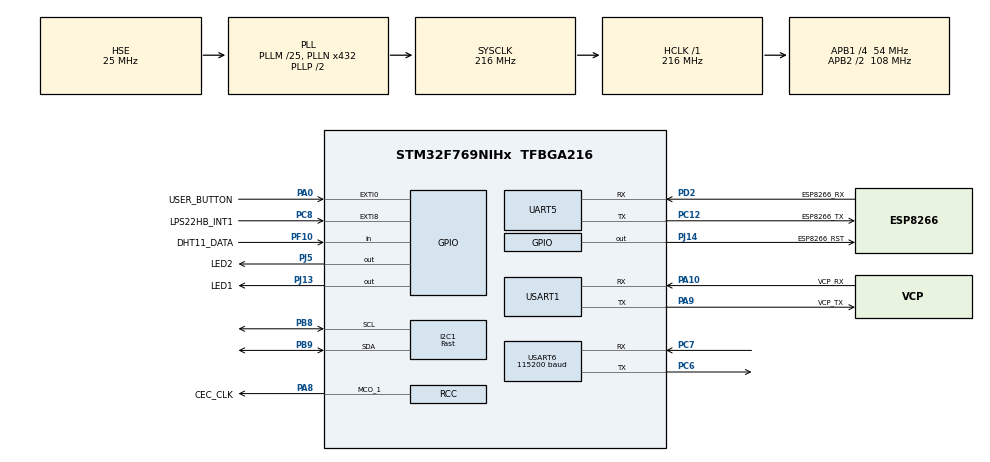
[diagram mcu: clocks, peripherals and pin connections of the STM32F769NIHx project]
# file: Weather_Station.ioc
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CORTEX_M7.CPU_DCache=Enabled
CORTEX_M7.CPU_ICache=Enabled
CORTEX_M7.default_mode_Activation=1
I2C1.I2C_Speed_Mode=I2C_Fast
I2C1.Timing=0x6000030D
IWDG.Prescaler=IWDG_PRESCALER_256
Mcu.Family=STM32F7
Mcu.Name=STM32F769NIHx
Mcu.Package=TFBGA216
NVIC.EXTI0_IRQn=true\:5\:0\:true\:false\:true\:true\:true\:true
NVIC.EXTI9_5_IRQn=true\:5\:0\:true\:false\:true\:true\:true\:true
NVIC.HASH_RNG_IRQn=true\:5\:0\:true\:false\:true\:true\:true\:true
NVIC.PriorityGroup=NVIC_PRIORITYGROUP_4
NVIC.TIM6_DAC_IRQn=true\:15\:0\:false\:false\:true\:false\:true\:true
NVIC.TimeBase=TIM6_DAC_IRQn
NVIC.TimeBaseIP=TIM6
NVIC.UART5_IRQn=true\:5\:0\:true\:false\:true\:true\:true\:true
NVIC.USART1_IRQn=true\:5\:0\:true\:false\:true\:true\:true\:true
NVIC.USART6_IRQn=true\:5\:0\:true\:false\:true\:true\:true\:true
PA0/WKUP.GPIO_Label=USER_BUTTON
PA0/WKUP.Signal=GPXTI0
PA10.GPIO_Label=VCP_RX
PA10.GPIO_Speed=GPIO_SPEED_FREQ_LOW
PA10.Mode=Asynchronous
PA10.Signal=USART1_RX
PA8.GPIO_Label=CEC_CLK
PA8.Mode=Clock-out-1
PA8.Signal=RCC_MCO_1
PA9.GPIO_Label=VCP_TX
PA9.GPIO_Speed=GPIO_SPEED_FREQ_LOW
PA9.Mode=Asynchronous
PA9.Signal=USART1_TX
PB8.Mode=I2C
PB8.Signal=I2C1_SCL
PB9.Mode=I2C
PB9.Signal=I2C1_SDA
PC12.GPIO_Label=ESP8266_TX
PC12.GPIO_PuPd=GPIO_PULLUP
PC12.GPIO_Speed=GPIO_SPEED_FREQ_HIGH
PC12.Mode=Asynchronous
PC12.Signal=UART5_TX
PC14/OSC32_IN.GPIO_Label=RCC_OSC32_IN
PC14/OSC32_IN.Mode=LSE-External-Oscillator
PC14/OSC32_IN.Signal=RCC_OSC32_IN
PC15/OSC32_OUT.GPIO_Label=RCC_OSC32_OUT
PC15/OSC32_OUT.Mode=LSE-External-Oscillator
PC15/OSC32_OUT.Signal=RCC_OSC32_OUT
PC6.GPIO_Speed=GPIO_SPEED_FREQ_MEDIUM
PC6.Mode=Asynchronous
PC6.Signal=USART6_TX
PC7.GPIO_Speed=GPIO_SPEED_FREQ_MEDIUM
PC7.Mode=Asynchronous
PC7.Signal=USART6_RX
PC8.GPIO_Label=LPS22HB_INT1
PC8.GPIO_ModeDefaultEXTI=GPIO_MODE_IT_RISING
PC8.GPIO_PuPd=GPIO_NOPULL
PC8.Signal=GPXTI8
PD2.GPIO_Label=ESP8266_RX
PD2.Mode=Asynchronous
PD2.Signal=UART5_RX
PF10.GPIO_Label=DHT11_DATA
PF10.Signal=GPIO_Input
PH0/OSC_IN.GPIO_Label=OSC_25M
PH0/OSC_IN.Mode=HSE-External-Oscillator
PH0/OSC_IN.Signal=RCC_OSC_IN
PH1/OSC_OUT.Mode=HSE-External-Oscillator
PH1/OSC_OUT.Signal=RCC_OSC_OUT
PJ13.GPIO_Label=LED1
PJ13.GPIO_ModeDefaultOutputPP=GPIO_MODE_OUTPUT_PP
PJ13.GPIO_PuPd=GPIO_PULLUP
PJ13.GPIO_Speed=GPIO_SPEED_FREQ_HIGH
PJ13.Signal=GPIO_Output
PJ14.GPIO_Label=ESP8266_RST
PJ14.GPIO_PuPd=GPIO_PULLUP
PJ14.GPIO_Speed=GPIO_SPEED_FREQ_HIGH
PJ14.PinState=GPIO_PIN_SET
PJ14.Signal=GPIO_Output
PJ5.GPIO_Label=LED2
PJ5.GPIO_PuPd=GPIO_PULLUP
PJ5.GPIO_Speed=GPIO_SPEED_FREQ_HIGH
PJ5.Signal=GPIO_Output
ProjectManager.HeapSize=0x200
ProjectManager.StackSize=0x400
ProjectManager.TargetToolchain=STM32CubeIDE
RCC.AHBFreq_Value=216000000
RCC.APB1CLKDivider=RCC_HCLK_DIV4
RCC.APB1Freq_Value=54000000
RCC.APB1TimFreq_Value=108000000
RCC.APB2CLKDivider=RCC_HCLK_DIV2
RCC.APB2Freq_Value=108000000
RCC.APB2TimFreq_Value=216000000
RCC.CortexFreq_Value=216000000
RCC.HCLKFreq_Value=216000000
RCC.HSE_VALUE=25000000
RCC.HSI_VALUE=16000000
RCC.PLL48CLockSelection=RCC_CLK48SOURCE_PLLSAIP
RCC.PLLM=25
RCC.PLLN=432
RCC.PLLQ=4
RCC.PLLSAIP=RCC_PLLSAIP_DIV4
RCC.PLLSourceVirtual=RCC_PLLSOURCE_HSE
RCC.SYSCLKFreq_VALUE=216000000
RCC.SYSCLKSource=RCC_SYSCLKSOURCE_PLLCLK
RCC.UART5CLockSelection=RCC_UART5CLKSOURCE_SYSCLK
RCC.USART6CLockSelection=RCC_USART6CLKSOURCE_SYSCLK
RCC.USBFreq_Value=48000000
RCC.VCOOutputFreq_Value=432000000
UART5.DMADisableonRxErrorParam=UART_ADVFEATURE_DMA_DISABLEONRXERROR
UART5.OverrunDisableParam=UART_ADVFEATURE_OVERRUN_DISABLE
USART1.VirtualMode-Asynchronous=VM_ASYNC
USART6.BaudRate=115200
USART6.DMADisableonRxErrorParam=ADVFEATURE_DMA_DISABLEONRXERROR
USART6.OverrunDisableParam=ADVFEATURE_OVERRUN_DISABLE
USART6.VirtualMode-Asynchronous=VM_ASYNC
VP_IWDG_VS_IWDG.Mode=IWDG_Activate
VP_RNG_VS_RNG.Mode=RNG_Activate
VP_SYS_VS_tim6.Mode=TIM6
board=custom

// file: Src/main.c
/* USER CODE BEGIN Header */
/**
  ******************************************************************************
  * @file           : main.c
  * @brief          : Main program body
  ******************************************************************************
  * @attention
  *
  * Copyright (c) 2024 STMicroelectronics.
  * All rights reserved.
  *
  * This software is licensed under terms that can be found in the LICENSE file
  * in the root directory of this software component.
  * If no LICENSE file comes with this software, it is provided AS-IS.
  *
  ******************************************************************************
  */
/* USER CODE END Header */
#include "main.h"

/* USER CODE BEGIN Includes */
#include "logging_levels.h"
#define LOG_LEVEL LOG_DEBUG
#include "logging.h"
#include "FreeRTOS.h"
#include "task.h"

#include "cli.h"
#include "esp8266_io.h"

#include "wm_sg_sm_42.h"
#include "wm_sg_sm_42_io.h"

#include "i_nucleo_lrwan1_pressure.h"
#include "i_nucleo_lrwan1_wm_sg_sm_xx.h"
/* USER CODE END Includes */

I2C_HandleTypeDef hi2c1;

IWDG_HandleTypeDef hiwdg;

RNG_HandleTypeDef hrng;

UART_HandleTypeDef huart5;
UART_HandleTypeDef huart1;
UART_HandleTypeDef huart6;

/* USER CODE BEGIN PV */
uint8_t IpAddress[15];

void *LPS22HB_P_0_handle = NULL;
/* USER CODE END PV */

void SystemClock_Config(void);
static void MPU_Config(void);
static void MX_GPIO_Init(void);
static void MX_I2C1_Init(void);
static void MX_USART6_UART_Init(void);
static void MX_IWDG_Init(void);

void SystemClock_Config(void)
{
  RCC_OscInitTypeDef RCC_OscInitStruct = {0};
  RCC_ClkInitTypeDef RCC_ClkInitStruct = {0};

  /** Configure LSE Drive Capability
  */
  HAL_PWR_EnableBkUpAccess();

  /** Configure the main internal regulator output voltage
  */
  __HAL_RCC_PWR_CLK_ENABLE();
  __HAL_PWR_VOLTAGESCALING_CONFIG(PWR_REGULATOR_VOLTAGE_SCALE1);

  /** Initializes the RCC Oscillators according to the specified parameters
  * in the RCC_OscInitTypeDef structure.
  */
  RCC_OscInitStruct.OscillatorType = RCC_OSCILLATORTYPE_HSI|RCC_OSCILLATORTYPE_LSI
                              |RCC_OSCILLATORTYPE_HSE;
  RCC_OscInitStruct.HSEState = RCC_HSE_ON;
  RCC_OscInitStruct.HSIState = RCC_HSI_ON;
  RCC_OscInitStruct.HSICalibrationValue = RCC_HSICALIBRATION_DEFAULT;
  RCC_OscInitStruct.LSIState = RCC_LSI_ON;
  RCC_OscInitStruct.PLL.PLLState = RCC_PLL_ON;
  RCC_OscInitStruct.PLL.PLLSource = RCC_PLLSOURCE_HSE;
  RCC_OscInitStruct.PLL.PLLM = 25;
  RCC_OscInitStruct.PLL.PLLN = 432;
  RCC_OscInitStruct.PLL.PLLP = RCC_PLLP_DIV2;
  RCC_OscInitStruct.PLL.PLLQ = 4;
  RCC_OscInitStruct.PLL.PLLR = 2;
  if (HAL_RCC_OscConfig(&RCC_OscInitStruct) != HAL_OK)
  {
    Error_Handler();
  }

  /** Activate the Over-Drive mode
  */
  if (HAL_PWREx_EnableOverDrive() != HAL_OK)
  {
    Error_Handler();
  }

  /** Initializes the CPU, AHB and APB buses clocks
  */
  RCC_ClkInitStruct.ClockType = RCC_CLOCKTYPE_HCLK|RCC_CLOCKTYPE_SYSCLK
                              |RCC_CLOCKTYPE_PCLK1|RCC_CLOCKTYPE_PCLK2;
  RCC_ClkInitStruct.SYSCLKSource = RCC_SYSCLKSOURCE_PLLCLK;
  RCC_ClkInitStruct.AHBCLKDivider = RCC_SYSCLK_DIV1;
  RCC_ClkInitStruct.APB1CLKDivider = RCC_HCLK_DIV4;
  RCC_ClkInitStruct.APB2CLKDivider = RCC_HCLK_DIV2;

  if (HAL_RCC_ClockConfig(&RCC_ClkInitStruct, FLASH_LATENCY_7) != HAL_OK)
  {
    Error_Handler();
  }
  HAL_RCC_MCOConfig(RCC_MCO1, RCC_MCO1SOURCE_HSI, RCC_MCODIV_1);
}

static void MX_I2C1_Init(void)
{

  hi2c1.Instance = I2C1;
  hi2c1.Init.Timing = 0x6000030D;
  hi2c1.Init.OwnAddress1 = 0;
  hi2c1.Init.AddressingMode = I2C_ADDRESSINGMODE_7BIT;
  hi2c1.Init.DualAddressMode = I2C_DUALADDRESS_DISABLE;
  hi2c1.Init.OwnAddress2 = 0;
  hi2c1.Init.OwnAddress2Masks = I2C_OA2_NOMASK;
  hi2c1.Init.GeneralCallMode = I2C_GENERALCALL_DISABLE;
  hi2c1.Init.NoStretchMode = I2C_NOSTRETCH_DISABLE;
  if (HAL_I2C_Init(&hi2c1) != HAL_OK)
  {
    Error_Handler();
  }

  /** Configure Analogue filter
  */
  if (HAL_I2CEx_ConfigAnalogFilter(&hi2c1, I2C_ANALOGFILTER_ENABLE) != HAL_OK)
  {
    Error_Handler();
  }

  /** Configure Digital filter
  */
  if (HAL_I2CEx_ConfigDigitalFilter(&hi2c1, 0) != HAL_OK)
  {
    Error_Handler();
  }

}

static void MX_IWDG_Init(void)
{

  hiwdg.Instance = IWDG;
  hiwdg.Init.Prescaler = IWDG_PRESCALER_256;
  hiwdg.Init.Window = 4095;
  hiwdg.Init.Reload = 4095;
  if (HAL_IWDG_Init(&hiwdg) != HAL_OK)
  {
    Error_Handler();
  }

}

void MX_RNG_Init(void)
{

  hrng.Instance = RNG;
  if (HAL_RNG_Init(&hrng) != HAL_OK)
  {
    Error_Handler();
  }

}

void MX_UART5_Init(void)
{

  huart5.Instance = UART5;
  huart5.Init.BaudRate = 115200;
  huart5.Init.WordLength = UART_WORDLENGTH_8B;
  huart5.Init.StopBits = UART_STOPBITS_1;
  huart5.Init.Parity = UART_PARITY_NONE;
  huart5.Init.Mode = UART_MODE_TX_RX;
  huart5.Init.HwFlowCtl = UART_HWCONTROL_NONE;
  huart5.Init.OverSampling = UART_OVERSAMPLING_16;
  huart5.Init.OneBitSampling = UART_ONE_BIT_SAMPLE_DISABLE;
  huart5.AdvancedInit.AdvFeatureInit = UART_ADVFEATURE_RXOVERRUNDISABLE_INIT|UART_ADVFEATURE_DMADISABLEONERROR_INIT;
  huart5.AdvancedInit.OverrunDisable = UART_ADVFEATURE_OVERRUN_DISABLE;
  huart5.AdvancedInit.DMADisableonRxError = UART_ADVFEATURE_DMA_DISABLEONRXERROR;
  if (HAL_UART_Init(&huart5) != HAL_OK)
  {
    Error_Handler();
  }

}

void MX_USART1_UART_Init(void)
{

  huart1.Instance = USART1;
  huart1.Init.BaudRate = 115200;
  huart1.Init.WordLength = UART_WORDLENGTH_8B;
  huart1.Init.StopBits = UART_STOPBITS_1;
  huart1.Init.Parity = UART_PARITY_NONE;
  huart1.Init.Mode = UART_MODE_TX_RX;
  huart1.Init.HwFlowCtl = UART_HWCONTROL_NONE;
  huart1.Init.OverSampling = UART_OVERSAMPLING_16;
  huart1.Init.OneBitSampling = UART_ONE_BIT_SAMPLE_DISABLE;
  huart1.AdvancedInit.AdvFeatureInit = UART_ADVFEATURE_NO_INIT;
  if (HAL_UART_Init(&huart1) != HAL_OK)
  {
    Error_Handler();
  }

}

static void MX_USART6_UART_Init(void)
{

  huart6.Instance = USART6;
  huart6.Init.BaudRate = 115200;
  huart6.Init.WordLength = UART_WORDLENGTH_8B;
  huart6.Init.StopBits = UART_STOPBITS_1;
  huart6.Init.Parity = UART_PARITY_NONE;
  huart6.Init.Mode = UART_MODE_TX_RX;
  huart6.Init.HwFlowCtl = UART_HWCONTROL_NONE;
  huart6.Init.OverSampling = UART_OVERSAMPLING_16;
  huart6.Init.OneBitSampling = UART_ONE_BIT_SAMPLE_DISABLE;
  huart6.AdvancedInit.AdvFeatureInit = UART_ADVFEATURE_RXOVERRUNDISABLE_INIT|UART_ADVFEATURE_DMADISABLEONERROR_INIT;
  huart6.AdvancedInit.OverrunDisable = UART_ADVFEATURE_OVERRUN_DISABLE;
  huart6.AdvancedInit.DMADisableonRxError = UART_ADVFEATURE_DMA_DISABLEONRXERROR;
  if (HAL_UART_Init(&huart6) != HAL_OK)
  {
    Error_Handler();
  }

}

static void MX_GPIO_Init(void)
{
  GPIO_InitTypeDef GPIO_InitStruct = {0};

  /* GPIO Ports Clock Enable */
  __HAL_RCC_GPIOB_CLK_ENABLE();
  __HAL_RCC_GPIOC_CLK_ENABLE();
  __HAL_RCC_GPIOJ_CLK_ENABLE();
  __HAL_RCC_GPIOD_CLK_ENABLE();
  __HAL_RCC_GPIOA_CLK_ENABLE();
  __HAL_RCC_GPIOH_CLK_ENABLE();
  __HAL_RCC_GPIOF_CLK_ENABLE();

  /*Configure GPIO pin Output Level */
  HAL_GPIO_WritePin(GPIOJ, LED1_Pin|LED2_Pin, GPIO_PIN_RESET);

  /*Configure GPIO pin Output Level */
  HAL_GPIO_WritePin(ESP8266_RST_GPIO_Port, ESP8266_RST_Pin, GPIO_PIN_SET);

  /*Configure GPIO pins : LED1_Pin ESP8266_RST_Pin LED2_Pin */
  GPIO_InitStruct.Pin = LED1_Pin|ESP8266_RST_Pin|LED2_Pin;
  GPIO_InitStruct.Mode = GPIO_MODE_OUTPUT_PP;
  GPIO_InitStruct.Pull = GPIO_PULLUP;
  GPIO_InitStruct.Speed = GPIO_SPEED_FREQ_HIGH;
  HAL_GPIO_Init(GPIOJ, &GPIO_InitStruct);

  /*Configure GPIO pin : CEC_CLK_Pin */
  GPIO_InitStruct.Pin = CEC_CLK_Pin;
  GPIO_InitStruct.Mode = GPIO_MODE_AF_PP;
  GPIO_InitStruct.Pull = GPIO_NOPULL;
  GPIO_InitStruct.Speed = GPIO_SPEED_FREQ_LOW;
  GPIO_InitStruct.Alternate = GPIO_AF0_MCO;
  HAL_GPIO_Init(CEC_CLK_GPIO_Port, &GPIO_InitStruct);

  /*Configure GPIO pin : LPS22HB_INT1_Pin */
  GPIO_InitStruct.Pin = LPS22HB_INT1_Pin;
  GPIO_InitStruct.Mode = GPIO_MODE_IT_RISING;
  GPIO_InitStruct.Pull = GPIO_NOPULL;
  HAL_GPIO_Init(LPS22HB_INT1_GPIO_Port, &GPIO_InitStruct);

  /*Configure GPIO pin : DHT11_DATA_Pin */
  GPIO_InitStruct.Pin = DHT11_DATA_Pin;
  GPIO_InitStruct.Mode = GPIO_MODE_INPUT;
  GPIO_InitStruct.Pull = GPIO_NOPULL;
  HAL_GPIO_Init(DHT11_DATA_GPIO_Port, &GPIO_InitStruct);

  /*Configure GPIO pin : USER_BUTTON_Pin */
  GPIO_InitStruct.Pin = USER_BUTTON_Pin;
  GPIO_InitStruct.Mode = GPIO_MODE_IT_RISING;
  GPIO_InitStruct.Pull = GPIO_NOPULL;
  HAL_GPIO_Init(USER_BUTTON_GPIO_Port, &GPIO_InitStruct);

  /* EXTI interrupt init*/
  HAL_NVIC_SetPriority(EXTI0_IRQn, 5, 0);
  HAL_NVIC_EnableIRQ(EXTI0_IRQn);

  HAL_NVIC_SetPriority(EXTI9_5_IRQn, 5, 0);
  HAL_NVIC_EnableIRQ(EXTI9_5_IRQn);

/* USER CODE BEGIN MX_GPIO_Init_2 */
  HAL_GPIO_WritePin(ESP8266_RST_GPIO_Port, ESP8266_RST_Pin, GPIO_PIN_SET);
/* Wait for the ESP8266 device to be ready */
  HAL_Delay(500);
/* USER CODE END MX_GPIO_Init_2 */
}

/* USER CODE BEGIN 4 */
int hw_init(void)
{
  /* MPU Configuration--------------------------------------------------------*/
  MPU_Config();

  /* Enable the CPU Cache */

  /* Enable I-Cache---------------------------------------------------------*/
  SCB_EnableICache();

  /* Enable D-Cache---------------------------------------------------------*/
  SCB_EnableDCache();

  /* MCU Configuration--------------------------------------------------------*/

  /* Reset of all peripherals, Initializes the Flash interface and the Systick. */
  HAL_Init();

  /* Configure the system clock */
  SystemClock_Config();

  /* Initialize all configured peripherals */
  MX_GPIO_Init();
  MX_RNG_Init();			/* Random Number Generator */
  MX_IWDG_Init();
  MX_USART1_UART_Init(); 	/* Virtual COM Port */
  MX_UART5_Init(); 			/* ESP8266 (Wi-Fi) AT CMD */
  MX_USART6_UART_Init(); 	/* I_NUCLEO_LRWAN1 (LoRa) AT CMD */
  MX_I2C1_Init();			/* I_NUCLEO_LRWAN1 sensors + Groove connector */

  ESP8266_StatusTypeDef Status;
  LORA_StatusTypeDef StatusLORA;

  /* Initialize the WiFi module ESP8266 */
  Status = ESP8266_Init();

  /* Check if initialization passed */
  if (Status != ESP8266_OK)
  {
	  Error_Handler();
  }

  /* Initialize the WiFi module ESP8266 */
  StatusLORA = LORA_Init();

  /* Check if initialization passed */
  if (StatusLORA != LORA_OK)
  {
	  Error_Handler();
  }

  /* Initialize uart for logging before cli is up and running */
  vInitLoggingEarly();
  vLoggingInit();

//  initializeAllSensors();
//  enableAllSensors();

  LogInfo( "HW Init Complete" );

  return 0;

}

/*-----------------------------------------------------------*/

/**
* @brief  Initialize all sensors
* @param  None
* @retval None
*/
//void initializeAllSensors( void )
//{
//	if (BSP_PRESSURE_Init( LPS22HB_P_0, &LPS22HB_P_0_handle ) != COMPONENT_OK)
//	{
//		LogError( "BSP_PRESSURE_Init failed" );
//	}
//
//}

/*-----------------------------------------------------------*/

/**
* @brief  Enable all sensors
* @param  None
* @retval None
*/
//void enableAllSensors( void )
//{
//	BSP_PRESSURE_Sensor_Enable( LPS22HB_P_0_handle );
//	LogInfo( "LPS22HB Pressure sensor initialized and enabled" );
//
//}

/*-----------------------------------------------------------*/

/**
  * @brief  Rx Callback when new data is received on the UART.
  * @param  UartHandle: Uart handle receiving the data.
  * @retval None.
  */

void HAL_UART_RxCpltCallback(UART_HandleTypeDef *UartHandle)
{
	if (UartHandle == &xESP8266Handle) {
		HAL_UART_RxCpltCallback_WIFIHandler(UartHandle);
	}
	else if (UartHandle == &xLORAHandle) {
		HAL_UART_RxCpltCallback_LORAHandler(UartHandle);
	}
}

/*-----------------------------------------------------------*/
void HAL_UART_ErrorCallback(UART_HandleTypeDef *UartHandle)
{
	if (UartHandle == &xESP8266Handle) {
		HAL_UART_ErrorCallback_WIFIHandler(UartHandle);
	}
	else if (UartHandle == &xLORAHandle) {
		HAL_UART_ErrorCallback_LORAHandler(UartHandle);
	}
}

/*-----------------------------------------------------------*/

/* USER CODE END 4 */

 /* MPU Configuration */

void MPU_Config(void)
{
  MPU_Region_InitTypeDef MPU_InitStruct = {0};

  /* Disables the MPU */
  HAL_MPU_Disable();

  /** Initializes and configures the Region and the memory to be protected
  */
  MPU_InitStruct.Enable = MPU_REGION_ENABLE;
  MPU_InitStruct.Number = MPU_REGION_NUMBER0;
  MPU_InitStruct.BaseAddress = 0x0;
  MPU_InitStruct.Size = MPU_REGION_SIZE_4GB;
  MPU_InitStruct.SubRegionDisable = 0x87;
  MPU_InitStruct.TypeExtField = MPU_TEX_LEVEL0;
  MPU_InitStruct.AccessPermission = MPU_REGION_NO_ACCESS;
  MPU_InitStruct.DisableExec = MPU_INSTRUCTION_ACCESS_DISABLE;
  MPU_InitStruct.IsShareable = MPU_ACCESS_SHAREABLE;
  MPU_InitStruct.IsCacheable = MPU_ACCESS_NOT_CACHEABLE;
  MPU_InitStruct.IsBufferable = MPU_ACCESS_NOT_BUFFERABLE;

  HAL_MPU_ConfigRegion(&MPU_InitStruct);
  /* Enables the MPU */
  HAL_MPU_Enable(MPU_PRIVILEGED_DEFAULT);

}

void HAL_TIM_PeriodElapsedCallback(TIM_HandleTypeDef *htim)
{
  if (htim->Instance == TIM6) {
    HAL_IncTick();
  }
}

void Error_Handler(void)
{
  __disable_irq();
  while (1)
  {
  }
}
